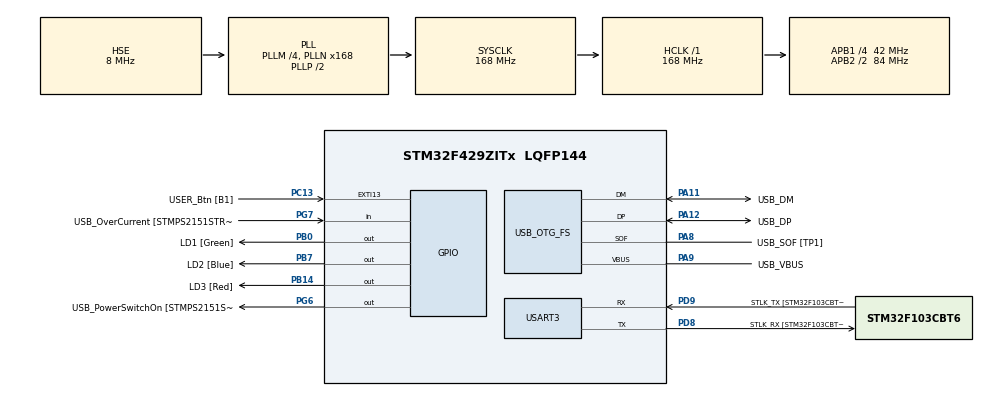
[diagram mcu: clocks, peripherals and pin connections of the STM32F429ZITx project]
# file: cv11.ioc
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Mcu.Family=STM32F4
Mcu.Name=STM32F429ZITx
Mcu.Package=LQFP144
NVIC.OTG_FS_IRQn=true\:0\:0\:false\:false\:true\:false\:true\:true
NVIC.PriorityGroup=NVIC_PRIORITYGROUP_4
PA1.GPIO_Label=RMII_REF_CLK [LAN8742A-CZ-TR_REFCLK0]
PA1.Signal=ETH_REF_CLK
PA10.GPIO_Label=USB_ID
PA10.Signal=USB_OTG_FS_ID
PA11.GPIO_Label=USB_DM
PA11.Mode=Device_Only
PA11.Signal=USB_OTG_FS_DM
PA12.GPIO_Label=USB_DP
PA12.Mode=Device_Only
PA12.Signal=USB_OTG_FS_DP
PA13.GPIO_Label=TMS
PA13.Mode=Serial_Wire
PA13.Signal=SYS_JTMS-SWDIO
PA14.GPIO_Label=TCK
PA14.Mode=Serial_Wire
PA14.Signal=SYS_JTCK-SWCLK
PA2.GPIO_Label=RMII_MDIO [LAN8742A-CZ-TR_MDIO]
PA2.Signal=ETH_MDIO
PA7.GPIO_Label=RMII_CRS_DV [LAN8742A-CZ-TR_CRS_DV]
PA7.Signal=ETH_CRS_DV
PA8.GPIO_Label=USB_SOF [TP1]
PA8.Mode=Activate_SOF_FS
PA8.Signal=USB_OTG_FS_SOF
PA9.GPIO_Label=USB_VBUS
PA9.Mode=Activate_VBUS
PA9.Signal=USB_OTG_FS_VBUS
PB0.GPIO_Label=LD1 [Green]
PB0.Signal=GPIO_Output
PB13.GPIO_Label=RMII_TXD1 [LAN8742A-CZ-TR_TXD1]
PB13.Signal=ETH_TXD1
PB14.GPIO_Label=LD3 [Red]
PB14.Signal=GPIO_Output
PB7.GPIO_Label=LD2 [Blue]
PB7.Signal=GPIO_Output
PC1.GPIO_Label=RMII_MDC [LAN8742A-CZ-TR_MDC]
PC1.Signal=ETH_MDC
PC13.GPIO_Label=USER_Btn [B1]
PC13.Signal=GPXTI13
PC14/OSC32_IN.Mode=LSE-External-Oscillator
PC14/OSC32_IN.Signal=RCC_OSC32_IN
PC15/OSC32_OUT.Mode=LSE-External-Oscillator
PC15/OSC32_OUT.Signal=RCC_OSC32_OUT
PC4.GPIO_Label=RMII_RXD0 [LAN8742A-CZ-TR_RXD0]
PC4.Signal=ETH_RXD0
PC5.GPIO_Label=RMII_RXD1 [LAN8742A-CZ-TR_RXD1]
PC5.Signal=ETH_RXD1
PD8.GPIO_Label=STLK_RX [STM32F103CBT6_PA3]
PD8.Mode=Asynchronous
PD8.Signal=USART3_TX
PD9.GPIO_Label=STLK_TX [STM32F103CBT6_PA2]
PD9.Mode=Asynchronous
PD9.Signal=USART3_RX
PG11.GPIO_Label=RMII_TX_EN [LAN8742A-CZ-TR_TXEN]
PG11.Signal=ETH_TX_EN
PG13.GPIO_Label=RMII_TXD0 [LAN8742A-CZ-TR_TXD0]
PG13.Signal=ETH_TXD0
PG6.GPIO_Label=USB_PowerSwitchOn [STMPS2151STR_EN]
PG6.Signal=GPIO_Output
PG7.GPIO_Label=USB_OverCurrent [STMPS2151STR_FAULT]
PG7.Signal=GPIO_Input
PH0/OSC_IN.GPIO_Label=MCO [STM32F103CBT6_PA8]
PH0/OSC_IN.Mode=HSE-External-Clock-Source
PH0/OSC_IN.Signal=RCC_OSC_IN
PH1/OSC_OUT.Mode=HSE-External-Clock-Source
PH1/OSC_OUT.Signal=RCC_OSC_OUT
ProjectManager.HeapSize=0x200
ProjectManager.StackSize=0x400
ProjectManager.TargetToolchain=STM32CubeIDE
RCC.48MHZClocksFreq_Value=48000000
RCC.AHBFreq_Value=168000000
RCC.APB1CLKDivider=RCC_HCLK_DIV4
RCC.APB1Freq_Value=42000000
RCC.APB1TimFreq_Value=84000000
RCC.APB2CLKDivider=RCC_HCLK_DIV2
RCC.APB2Freq_Value=84000000
RCC.APB2TimCLKDivider=2
RCC.APB2TimFreq_Value=168000000
RCC.CortexFreq_Value=168000000
RCC.HCLKFreq_Value=168000000
RCC.HSE_VALUE=8000000
RCC.HSI_VALUE=16000000
RCC.PLLM=4
RCC.PLLMUL=RCC_PLL_MUL9
RCC.PLLN=168
RCC.PLLQ=7
RCC.PRESCALERUSB=RCC_USBCLKSOURCE_PLL_DIV1_5
RCC.SYSCLKFreq_VALUE=168000000
RCC.SYSCLKSource=RCC_SYSCLKSOURCE_PLLCLK
RCC.SYSCLKSourceVirtual=RCC_SYSCLKSOURCE_PLLCLK
RCC.USBFreq_Value=48000000
RCC.VCOOutputFreq_Value=336000000
USART3.VirtualMode=VM_ASYNC
USB_DEVICE.CLASS_NAME_FS=HID
USB_DEVICE.VirtualMode-HID_FS=Hid
USB_DEVICE.VirtualModeFS=Hid_FS
USB_OTG_FS.VirtualMode=Device_Only
VP_USB_DEVICE_VS_USB_DEVICE_HID_FS.Mode=HID_FS
board=NUCLEO-F429ZI

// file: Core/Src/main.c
/* USER CODE BEGIN Header */
/**
  ******************************************************************************
  * @file           : main.c
  * @brief          : Main program body
  ******************************************************************************
  * @attention
  *
  * Copyright (c) 2023 STMicroelectronics.
  * All rights reserved.
  *
  * This software is licensed under terms that can be found in the LICENSE file
  * in the root directory of this software component.
  * If no LICENSE file comes with this software, it is provided AS-IS.
  *
  ******************************************************************************
  */
/* USER CODE END Header */
#include "main.h"
#include "usb_device.h"

/* USER CODE BEGIN Includes */
#include "usbd_hid.h"
#include <math.h>
#include <stdbool.h>

/* USER CODE END Includes */

UART_HandleTypeDef huart3;

/* USER CODE BEGIN PV */
extern USBD_HandleTypeDef hUsbDeviceFS;

/* USER CODE END PV */

void SystemClock_Config(void);
static void MX_GPIO_Init(void);
static void MX_USART3_UART_Init(void);

/* USER CODE BEGIN 0 */
static void step(int8_t x, int8_t y, uint8_t btn) {
	uint8_t buff[4];
	buff[0] = btn;
	buff[1] = x;
	buff[2] = -y;
	buff[3] = 0;
	USBD_HID_SendReport(&hUsbDeviceFS, buff, sizeof(buff));
	HAL_Delay(USBD_HID_GetPollingInterval(&hUsbDeviceFS));
}
static void circle(int8_t r, int8_t deg, uint8_t draw, uint8_t half) {
	float x = 0;
	float y = 0;
	float sx = 0;
	float sy = r;
	float dx = 0;
	float dy = 0;
	for (uint8_t i = 0; i<=deg; i++) {
		x = r*cosf(i*2*M_PI/36);
		y = r*sinf(i*2*M_PI/36);
		dx = (x-sx);
		dy = (y-sy);
		if (half && (i>=18)) {
			step(dx, dy, half);
		}
		else if (half && (i<18)) {
			step(0,0,0);
			step(dx, dy, 0);
		}
		else {
			step(dx, dy, draw);
		}
		sx=x;
		sy=y;
		HAL_Delay(10);
	}

}
static void smile(int8_t r){

	//head
	circle(r, 36, 1, 0);
	step(0,0,0);

	//left eye
	step(-120, 60, 0);
	circle(r/4, 36, 1, 0);
	step(0,0,0);

	//right eye
	step(45,36,0);
	circle(r/4, 36, 1, 0);
	step(0,0,0);

	// nose
	step(-55, -20, 0);
	step(0,0,1);
	step(0, -40, 1);
	step(0,0,0);

	// mouth
	step(-50, 70, 0);
	circle(r/1.5, 36, 1, 1);
	step(0,0,0);

}

/* USER CODE END 0 */

int main(void)
{

  /* MCU Configuration--------------------------------------------------------*/

  /* Reset of all peripherals, Initializes the Flash interface and the Systick. */
  HAL_Init();

  /* Configure the system clock */
  SystemClock_Config();

  /* Initialize all configured peripherals */
  MX_GPIO_Init();
  MX_USART3_UART_Init();
  MX_USB_DEVICE_Init();

  /* Infinite loop */
  while (1)
  {
	  if (HAL_GPIO_ReadPin(USER_Btn_GPIO_Port, USER_Btn_Pin)) {
	  		  smile(120);
	  	  }
	  /*
	  uint8_t buff[4];
	  buff[0] = 0x01; // stiskni leve tlacitko
	  buff[1] = (int8_t)(10); // posun X +10
	  buff[2] = (int8_t)(-3); // posun Y -3
	  buff[3] = 0; // bez scrollu
	  USBD_HID_SendReport(&hUsbDeviceFS, buff, sizeof(buff));
	  HAL_Delay(USBD_HID_GetPollingInterval(&hUsbDeviceFS));
	  */

  }
}

void SystemClock_Config(void)
{
  RCC_OscInitTypeDef RCC_OscInitStruct = {0};
  RCC_ClkInitTypeDef RCC_ClkInitStruct = {0};

  /** Configure the main internal regulator output voltage
  */
  __HAL_RCC_PWR_CLK_ENABLE();
  __HAL_PWR_VOLTAGESCALING_CONFIG(PWR_REGULATOR_VOLTAGE_SCALE1);

  /** Initializes the RCC Oscillators according to the specified parameters
  * in the RCC_OscInitTypeDef structure.
  */
  RCC_OscInitStruct.OscillatorType = RCC_OSCILLATORTYPE_HSE;
  RCC_OscInitStruct.HSEState = RCC_HSE_BYPASS;
  RCC_OscInitStruct.PLL.PLLState = RCC_PLL_ON;
  RCC_OscInitStruct.PLL.PLLSource = RCC_PLLSOURCE_HSE;
  RCC_OscInitStruct.PLL.PLLM = 4;
  RCC_OscInitStruct.PLL.PLLN = 168;
  RCC_OscInitStruct.PLL.PLLP = RCC_PLLP_DIV2;
  RCC_OscInitStruct.PLL.PLLQ = 7;
  if (HAL_RCC_OscConfig(&RCC_OscInitStruct) != HAL_OK)
  {
    Error_Handler();
  }

  /** Initializes the CPU, AHB and APB buses clocks
  */
  RCC_ClkInitStruct.ClockType = RCC_CLOCKTYPE_HCLK|RCC_CLOCKTYPE_SYSCLK
                              |RCC_CLOCKTYPE_PCLK1|RCC_CLOCKTYPE_PCLK2;
  RCC_ClkInitStruct.SYSCLKSource = RCC_SYSCLKSOURCE_PLLCLK;
  RCC_ClkInitStruct.AHBCLKDivider = RCC_SYSCLK_DIV1;
  RCC_ClkInitStruct.APB1CLKDivider = RCC_HCLK_DIV4;
  RCC_ClkInitStruct.APB2CLKDivider = RCC_HCLK_DIV2;

  if (HAL_RCC_ClockConfig(&RCC_ClkInitStruct, FLASH_LATENCY_5) != HAL_OK)
  {
    Error_Handler();
  }
}

static void MX_USART3_UART_Init(void)
{

  huart3.Instance = USART3;
  huart3.Init.BaudRate = 115200;
  huart3.Init.WordLength = UART_WORDLENGTH_8B;
  huart3.Init.StopBits = UART_STOPBITS_1;
  huart3.Init.Parity = UART_PARITY_NONE;
  huart3.Init.Mode = UART_MODE_TX_RX;
  huart3.Init.HwFlowCtl = UART_HWCONTROL_NONE;
  huart3.Init.OverSampling = UART_OVERSAMPLING_16;
  if (HAL_UART_Init(&huart3) != HAL_OK)
  {
    Error_Handler();
  }

}

static void MX_GPIO_Init(void)
{
  GPIO_InitTypeDef GPIO_InitStruct = {0};

  /* GPIO Ports Clock Enable */
  __HAL_RCC_GPIOC_CLK_ENABLE();
  __HAL_RCC_GPIOH_CLK_ENABLE();
  __HAL_RCC_GPIOA_CLK_ENABLE();
  __HAL_RCC_GPIOB_CLK_ENABLE();
  __HAL_RCC_GPIOD_CLK_ENABLE();
  __HAL_RCC_GPIOG_CLK_ENABLE();

  /*Configure GPIO pin Output Level */
  HAL_GPIO_WritePin(GPIOB, LD1_Pin|LD3_Pin|LD2_Pin, GPIO_PIN_RESET);

  /*Configure GPIO pin Output Level */
  HAL_GPIO_WritePin(USB_PowerSwitchOn_GPIO_Port, USB_PowerSwitchOn_Pin, GPIO_PIN_RESET);

  /*Configure GPIO pin : USER_Btn_Pin */
  GPIO_InitStruct.Pin = USER_Btn_Pin;
  GPIO_InitStruct.Mode = GPIO_MODE_IT_RISING;
  GPIO_InitStruct.Pull = GPIO_NOPULL;
  HAL_GPIO_Init(USER_Btn_GPIO_Port, &GPIO_InitStruct);

  /*Configure GPIO pins : RMII_MDC_Pin RMII_RXD0_Pin RMII_RXD1_Pin */
  GPIO_InitStruct.Pin = RMII_MDC_Pin|RMII_RXD0_Pin|RMII_RXD1_Pin;
  GPIO_InitStruct.Mode = GPIO_MODE_AF_PP;
  GPIO_InitStruct.Pull = GPIO_NOPULL;
  GPIO_InitStruct.Speed = GPIO_SPEED_FREQ_VERY_HIGH;
  GPIO_InitStruct.Alternate = GPIO_AF11_ETH;
  HAL_GPIO_Init(GPIOC, &GPIO_InitStruct);

  /*Configure GPIO pins : RMII_REF_CLK_Pin RMII_MDIO_Pin RMII_CRS_DV_Pin */
  GPIO_InitStruct.Pin = RMII_REF_CLK_Pin|RMII_MDIO_Pin|RMII_CRS_DV_Pin;
  GPIO_InitStruct.Mode = GPIO_MODE_AF_PP;
  GPIO_InitStruct.Pull = GPIO_NOPULL;
  GPIO_InitStruct.Speed = GPIO_SPEED_FREQ_VERY_HIGH;
  GPIO_InitStruct.Alternate = GPIO_AF11_ETH;
  HAL_GPIO_Init(GPIOA, &GPIO_InitStruct);

  /*Configure GPIO pins : LD1_Pin LD3_Pin LD2_Pin */
  GPIO_InitStruct.Pin = LD1_Pin|LD3_Pin|LD2_Pin;
  GPIO_InitStruct.Mode = GPIO_MODE_OUTPUT_PP;
  GPIO_InitStruct.Pull = GPIO_NOPULL;
  GPIO_InitStruct.Speed = GPIO_SPEED_FREQ_LOW;
  HAL_GPIO_Init(GPIOB, &GPIO_InitStruct);

  /*Configure GPIO pin : RMII_TXD1_Pin */
  GPIO_InitStruct.Pin = RMII_TXD1_Pin;
  GPIO_InitStruct.Mode = GPIO_MODE_AF_PP;
  GPIO_InitStruct.Pull = GPIO_NOPULL;
  GPIO_InitStruct.Speed = GPIO_SPEED_FREQ_VERY_HIGH;
  GPIO_InitStruct.Alternate = GPIO_AF11_ETH;
  HAL_GPIO_Init(RMII_TXD1_GPIO_Port, &GPIO_InitStruct);

  /*Configure GPIO pin : USB_PowerSwitchOn_Pin */
  GPIO_InitStruct.Pin = USB_PowerSwitchOn_Pin;
  GPIO_InitStruct.Mode = GPIO_MODE_OUTPUT_PP;
  GPIO_InitStruct.Pull = GPIO_NOPULL;
  GPIO_InitStruct.Speed = GPIO_SPEED_FREQ_LOW;
  HAL_GPIO_Init(USB_PowerSwitchOn_GPIO_Port, &GPIO_InitStruct);

  /*Configure GPIO pin : USB_OverCurrent_Pin */
  GPIO_InitStruct.Pin = USB_OverCurrent_Pin;
  GPIO_InitStruct.Mode = GPIO_MODE_INPUT;
  GPIO_InitStruct.Pull = GPIO_NOPULL;
  HAL_GPIO_Init(USB_OverCurrent_GPIO_Port, &GPIO_InitStruct);

  /*Configure GPIO pins : RMII_TX_EN_Pin RMII_TXD0_Pin */
  GPIO_InitStruct.Pin = RMII_TX_EN_Pin|RMII_TXD0_Pin;
  GPIO_InitStruct.Mode = GPIO_MODE_AF_PP;
  GPIO_InitStruct.Pull = GPIO_NOPULL;
  GPIO_InitStruct.Speed = GPIO_SPEED_FREQ_VERY_HIGH;
  GPIO_InitStruct.Alternate = GPIO_AF11_ETH;
  HAL_GPIO_Init(GPIOG, &GPIO_InitStruct);

}

void Error_Handler(void)
{
  __disable_irq();
  while (1)
  {
  }
}
